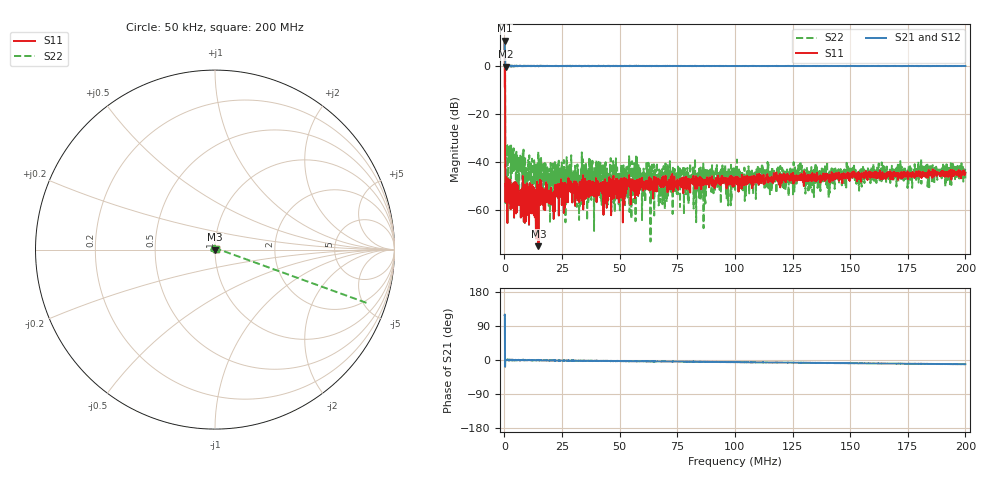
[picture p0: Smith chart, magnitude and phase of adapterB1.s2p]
! 19-Feb-26 2:24:13 PM
! E:\VNA_MEASUREMENTS\RECBLOCK\ADAPTERB1.S2P
! CHANNEL.1
! TR.MEASUREMENT
! CORRECTED.DATA
# GHZ S RI R 50.0
! FREQ.GHZ  S11RE  S11IM  S21RE  S21IM  S12RE  S12IM  S22RE  S22IM
!; PortSelection: Port_12
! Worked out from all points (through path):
!   2000 points, 50 kHz to 200 MHz, reference 50 ohm
!   highest |S21| = 10.54 dB at 50 kHz (marker M1); lowest = -0.3 dB at 750.2 kHz (marker M2)
!   lowest |S11| = -75.0 dB at 14.75 MHz (marker M3), VSWR 1.00, Z = 50 + j0.0151 ohm
!   |S11| at or under -10 dB: 276.5 kHz to end of sweep
!   |S22| runs from -73.0 to 9.2 dB; largest |S21 - S12| = 2.5
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5e-05  0.0772 3.384  -1.608 2.956  -1.486 0.4796  -2.442 -1.549
0.000750175  -0.00486 0.000825  0.9684 0.00304  1 -0.00271  -0.0214 0.00188
0.001150275  0.00258 0.00136  1.01 0.0188  1.003 -0.00313  0.00782 0.0125
0.001350325  -0.000623 -0.00389  1.024 0.00204  0.9846 -0.01  0.0153 0.00215
0.001950475  0.00167 0.00164  1.015 0.016  0.9996 -0.00399  0.0123 0.0118
0.009152276  0.00182 0.00153  1.009 -0.00943  1.001 -0.0112  0.0067 -0.00299
0.01475368  -9.63e-05 0.000151  0.9835 -0.0121  0.9974 -0.0162  -0.00118 0.0118
0.01895473  0.00149 0.000418  0.9939 -0.0221  0.9936 -0.0193  -0.000356 0.00415
0.0208552  0.00136 0.000989  0.9906 -0.0159  1 -0.0181  0.00508 0.00765
0.02865715  0.00201 0.0035  1.008 -0.0298  0.9985 -0.031  -0.00214 -0.0034
0.03225805  0.00239 0.00128  0.9945 -0.0365  0.9968 -0.0347  0.00225 0.00519
0.03345835  0.0018 0.00219  1.003 -0.0398  0.997 -0.0342  -0.00272 0.0033
0.04056013  0.00226 0.000649  0.9929 -0.0342  0.9964 -0.0394  0.0056 -0.00193
0.04436108  0.000883 0.000694  1.001 -0.0348  0.9974 -0.0445  -0.00115 -0.00378
0.06676668  0.00304 0.0035  0.9923 -0.0695  0.9953 -0.0684  0.00402 0.000371
0.08097024  0.00342 0.00262  0.9946 -0.077  0.9957 -0.0823  0.00261 0.00427
0.08617154  0.00183 0.00322  0.9921 -0.0894  0.9925 -0.0809  0.00225 0.000417
0.08847211  0.00354 0.00261  0.9954 -0.0871  0.9959 -0.0875  0.00445 0.00224
0.100075  0.00302 0.00266  0.9929 -0.1012  0.9909 -0.0982  0.00178 0.00193
0.1333833  0.00388 0.00318  0.9878 -0.1311  0.9875 -0.1304  0.0041 0.00414
0.1666917  0.00384 0.00416  0.9821 -0.16  0.9814 -0.1609  0.00323 0.00521
0.2  0.00415 0.00424  0.9798 -0.1915  0.9747 -0.1939  0.00379 0.00253
